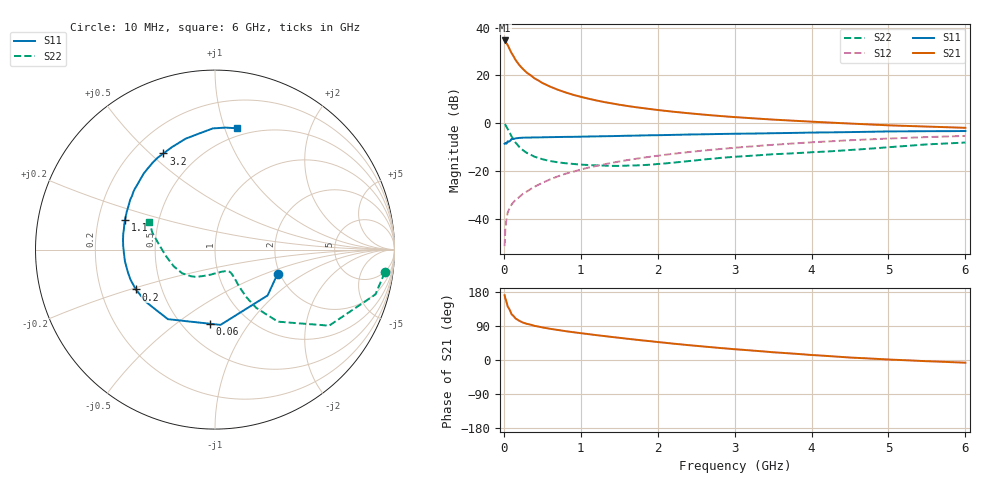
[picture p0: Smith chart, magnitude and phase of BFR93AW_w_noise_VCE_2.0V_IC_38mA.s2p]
! Infineon Technologies  Discrete & RF Semiconductors
! BFR93AW
! VCE =  2.0 V,  IC =  38 mA
! Common Emitter S-Parameters:  Jan 2017
# GHz  S  MA  R  50
!  f  S11  S21  S12  S22
! GHz  MAG  ANG  MAG  ANG  MAG  ANG  MAG  ANG
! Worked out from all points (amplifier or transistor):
!   77 points, 10 MHz to 6 GHz, reference 50 ohm
!   highest |S21| = 34.6 dB at 10 MHz (marker M1)
!   |S21| within 3 dB of that: start of sweep to 66.2 MHz
!   unconditionally stable (mu >= 1): 433.5 MHz to 2.197 GHz
!   at 130 MHz: K = 0.62, MSG = 30.3 dB, |S12| = -32.8 dB
!   at 2.2 GHz: K = 1.00, MSG = 8.8 dB, |S12| = -12.8 dB
!   at 6 GHz: K = 0.92, MSG = 1.7 dB, |S12| = -5.3 dB
!   lowest NFmin = 1.99 dB at 450 MHz
!   S11 on the Smith chart (normalised r, x): 10 MHz: 1.94, -0.61; 60 MHz: 0.67, -0.67; 200 MHz: 0.36, -0.21; 1.1 GHz: 0.32, +0.15; 3.2 GHz: 0.32, +0.55; 6 GHz: 0.43, +1.11
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0.01  0.3739 -21.3  53.69 170.9  0.0027 83.6  0.9546 -7.6
0.02  0.3888 -41.1  52.58 162.3  0.0064 82.5  0.9282 -15.6
0.05  0.4205 -85.8  42.86 141.0  0.0136 64.5  0.7641 -33.7
0.06  0.414 -93.9  39.84 138.1  0.0148 63.2  0.7146 -35.9
0.1  0.4682 -124.1  29.31 120.7  0.0199 59.7  0.5326 -48.9
0.15  0.4828 -142.8  21.32 110.0  0.0248 59.5  0.3985 -54.7
0.2  0.4937 -153.3  16.55 103.5  0.0287 61.0  0.3212 -56.5
0.25  0.4997 -160.4  13.5 98.6  0.0336 62.7  0.2728 -56.8
0.3  0.5014 -165.3  11.36 95.4  0.0375 64.8  0.2392 -56.7
0.4  0.506 -172.6  8.653 90.0  0.0471 67.9  0.1996 -55.9
0.5  0.5082 -178.2  6.96 86.0  0.0566 69.3  0.1773 -55.4
0.6  0.5121 177.5  5.841 82.4  0.0669 70.5  0.1625 -55.5
0.7  0.5153 174.0  5.025 79.3  0.0774 70.9  0.1528 -55.8
0.9  0.5202 167.3  3.934 73.4  0.0969 70.7  0.1412 -59.2
1.1  0.5281 161.7  3.258 68.3  0.1183 70.2  0.1341 -63.8
1.5  0.5426 151.8  2.44 58.6  0.1586 67.4  0.1285 -77.7
2.1  0.5666 138.8  1.816 45.4  0.2195 62.1  0.145 -103.2
3.1  0.6055 120.0  1.312 27.0  0.3167 51.9  0.2037 -134.4
3.2  0.608 118.2  1.28 25.4  0.3259 50.8  0.2085 -137.0
4.1  0.6411 103.4  1.059 12.0  0.4076 40.9  0.252 -161.0
5.1  0.6761 89.8  0.894 0.4  0.4857 29.6  0.3239 172.2
6  0.6872 79.5  0.802 -7.1  0.5435 19.6  0.3954 157.4
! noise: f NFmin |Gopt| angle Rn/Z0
0.45  1.99  0.22  179  0.16
0.9  2.27  0.28  -171  0.17
1.9  3.33  0.52  -133  0.34
2.4  4.02  0.56  -123  0.63
